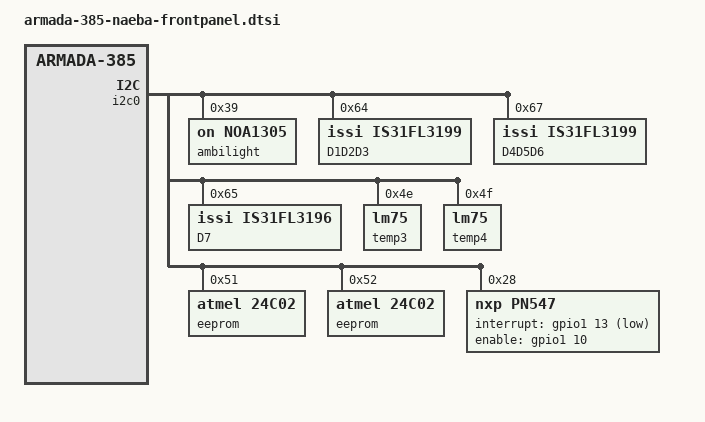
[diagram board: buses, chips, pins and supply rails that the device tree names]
/*
 * Device Tree file for Naeba machine front panel (88F6825)
 *
 *  Rabeeh Khoury <rabeeh@solid-run.com>
 *
 * This file is dual-licensed: you can use it either under the terms
 * of the GPL or the X11 license, at your option. Note that this dual
 * licensing only applies to this file, and not this project as a
 * whole.
 *
 *  a) This file is free software; you can redistribute it and/or
 *     modify it under the terms of the GNU General Public License
 *     version 2 as published by the Free Software Foundation.
 *
 *     This file is distributed in the hope that it will be useful
 *     but WITHOUT ANY WARRANTY; without even the implied warranty of
 *     MERCHANTABILITY or FITNESS FOR A PARTICULAR PURPOSE.  See the
 *     GNU General Public License for more details.
 *
 * Or, alternatively
 *
 *  b) Permission is hereby granted, free of charge, to any person
 *     obtaining a copy of this software and associated documentation
 *     files (the "Software"), to deal in the Software without
 *     restriction, including without limitation the rights to use
 *     copy, modify, merge, publish, distribute, sublicense, and/or
 *     sell copies of the Software, and to permit persons to whom the
 *     Software is furnished to do so, subject to the following
 *     conditions:
 *
 *     The above copyright notice and this permission notice shall be
 *     included in all copies or substantial portions of the Software.
 *
 *     THE SOFTWARE IS PROVIDED , WITHOUT WARRANTY OF ANY KIND
 *     EXPRESS OR IMPLIED, INCLUDING BUT NOT LIMITED TO THE WARRANTIES
 *     OF MERCHANTABILITY, FITNESS FOR A PARTICULAR PURPOSE AND
 *     NONINFRINGEMENT. IN NO EVENT SHALL THE AUTHORS OR COPYRIGHT
 *     HOLDERS BE LIABLE FOR ANY CLAIM, DAMAGES OR OTHER LIABILITY
 *     WHETHER IN AN ACTION OF CONTRACT, TORT OR OTHERWISE, ARISING
 *     FROM, OUT OF OR IN CONNECTION WITH THE SOFTWARE OR THE USE OR
 *     OTHER DEALINGS IN THE SOFTWARE.
 */

&i2c0 {
        pinctrl-0 = <&i2c0_pins>;
        pinctrl-names = "default";
        status = "okay";
	ambilight: ambilight@39 {
		compatible = "on,noa1305";
		#address-cells = <1>;
		#size-cells = <0>;
		reg = <0x39>;
	};
	D1D2D3: leds@64 {
		compatible = "issi,is31fl3199";
		#address-cells = <1>;
		#size-cells = <0>;
		reg = <0x64>;
		D1B: D1B@1 {
			label = "S4:blue";
			reg = <1>;
			led-max-microamp = <5000>;
		};
		D1G: D1G@1 {
			label = "S4:green";
			reg = <2>;
			led-max-microamp = <5000>;
		};
		D1R: D1R@1 {
			label = "S4:red";
			reg = <3>;
			led-max-microamp = <5000>;
		};
		D2B: D2B@1 {
			label = "S5:blue";
			reg = <4>;
			led-max-microamp = <5000>;
		};
		D2G: D2G@1 {
			label = "S5:green";
			reg = <5>;
			led-max-microamp = <5000>;
		};
		D2R: D2R@1 {
			label = "S5:red";
			reg = <6>;
			led-max-microamp = <5000>;
		};
		D3B: D3B@1 {
			label = "S6:blue";
			reg = <7>;
			led-max-microamp = <5000>;
		};
		D3G: D3G@1 {
			label = "S6:green";
			reg = <8>;
			led-max-microamp = <5000>;
		};
		D3R: D3R@1 {
			label = "S6:red";
			reg = <9>;
			led-max-microamp = <5000>;
		};
	};
	D4D5D6: leds@67 {
		compatible = "issi,is31fl3199";
		#address-cells = <1>;
		#size-cells = <0>;
		reg = <0x67>;
		control-mode = <0x0>; /* Master */
		D6B: D6B@1 {
			label = "S3:blue";
			reg = <1>;
			led-max-microamp = <5000>;
		};
		D6G: D6G@1 {
			label = "S3:green";
			reg = <2>;
			led-max-microamp = <5000>;
		};
		D6R: D6R@1 {
			label = "S3:red";
			reg = <3>;
			led-max-microamp = <5000>;
		};
		D5B: D5B@1 {
			label = "S2:blue";
			reg = <4>;
			led-max-microamp = <5000>;
		};
		D5G: D5G@1 {
			label = "S2:green";
			reg = <5>;
			led-max-microamp = <5000>;
		};
		D5R: D5R@1 {
			label = "S2:red";
			reg = <6>;
			led-max-microamp = <5000>;
		};
		D4B: D4B@1 {
			label = "S1:blue";
			reg = <7>;
			led-max-microamp = <5000>;
		};
		D4G: D4G@1 {
			label = "S1:green";
			reg = <8>;
			led-max-microamp = <5000>;
		};
		D4R: D4R@1 {
			label = "S1:red";
			reg = <9>;
			led-max-microamp = <5000>;
		};
	};
	D7: leds@65 {
		compatible = "issi,is31fl3196";
		#address-cells = <1>;
		#size-cells = <0>;
		reg = <0x65>;
		control-mode = <0x0>; /* Master */
		D7B: D7B@1 {
			label = "S7:blue";
			reg = <1>;
			led-max-microamp = <5000>;
		};
		D7G: D7G@1 {
			label = "S7:green";
			reg = <2>;
			led-max-microamp = <5000>;
		};
		D7R: D7R@1 {
			label = "S7:red";
			reg = <3>;
			led-max-microamp = <5000>;
		};
		WL24: WL24@1 {
			label = "wlan24";
			reg = <4>;
			led-max-microamp = <5000>;
		};
		WL5: WL5@1 {
			label = "wlan5";
			reg = <5>;
			led-max-microamp = <5000>;
		};
		WWAN: WWAN@1 {
			label = "wwan";
			reg = <6>;
			led-max-microamp = <5000>;
		};
	};
	/* U1 temperature sensor on front panel */
	temp3: nct75@4e {
		compatible = "lm75";
		reg = <0x4e>;
	};
	/* U2 temperature sensor on v6logo */
	temp4: nct75@4f {
		compatible = "lm75";
		reg = <0x4f>;
	};
	/* 2Kb eeprom on front panel */
	eeprom@51 {
		compatible = "atmel,24c02";
		reg = <0x51>;
	};
	/* 2Kb eeprom on v6logo */
	eeprom@52 {
		compatible = "atmel,24c02";
		reg = <0x52>;
	};
	pn547: pn547@28 {
		compatible = "nxp,pn547";
		reg = <0x28>;
                interrupt-gpios = <&gpio1 13 GPIO_ACTIVE_LOW>;
                enable-gpios = <&gpio1 10 GPIO_ACTIVE_HIGH>;
        };
};
